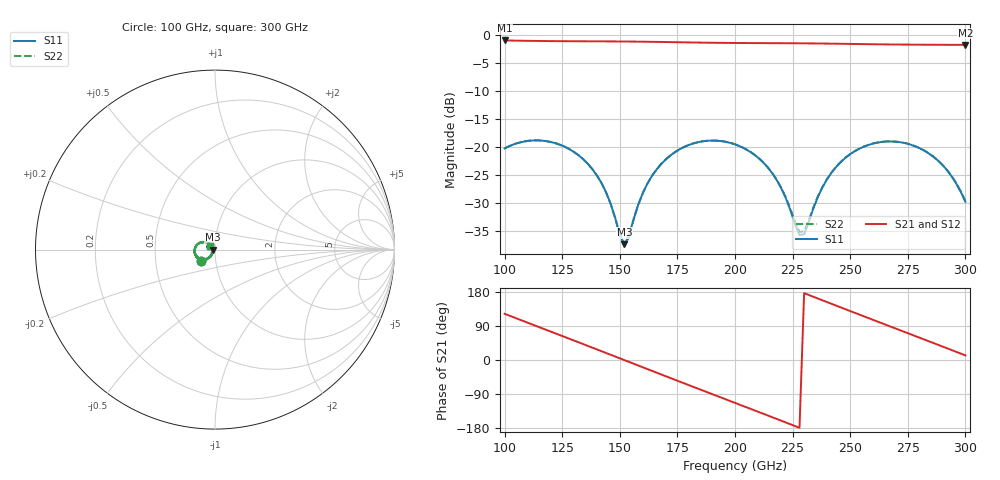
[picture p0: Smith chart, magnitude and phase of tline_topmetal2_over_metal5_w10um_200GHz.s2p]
#  GHZ S DB R 50
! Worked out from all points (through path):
!   101 points, 100 GHz to 300 GHz, reference 50 ohm
!   highest |S21| = -0.92 dB at 100 GHz (marker M1); lowest = -1.7 dB at 300 GHz (marker M2)
!   group delay of S21, straight-line fit = 6.53 ps
!   lowest |S11| = -37.4 dB at 152 GHz (marker M3), VSWR 1.03, Z = 48.7 - j0.119 ohm
!   |S11| at or under -10 dB: start of sweep to end of sweep
!   |S22| runs from -37.7 to -18.8 dB; largest |S21 - S12| = 1.5e-13
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100  -20.23 -141.4  -0.92 121.9  -0.92 121.9  -20.22 -140.8
116  -18.82 -176.0  -1.02 84.4  -1.02 84.4  -18.81 -175.5
124  -19.56 167.0  -1.05 65.7  -1.05 65.7  -19.55 167.5
134  -22.11 147.3  -1.07 42.2  -1.07 42.2  -22.10 147.6
144  -28.03 134.8  -1.09 18.6  -1.09 18.6  -28.05 134.8
152  -37.39 -174.8  -1.11 -0.3  -1.11 -0.3  -37.70 -174.3
160  -28.17 -121.5  -1.14 -19.3  -1.14 -19.3  -28.21 -120.1
168  -22.99 -130.2  -1.19 -38.2  -1.19 -38.2  -22.99 -129.0
184  -19.10 -161.1  -1.30 -75.8  -1.30 -75.8  -19.10 -160.0
200  -19.50 166.2  -1.37 -113.2  -1.37 -113.2  -19.48 167.4
216  -24.57 138.5  -1.41 -150.6  -1.41 -150.6  -24.52 140.3
222  -29.06 136.5  -1.42 -164.7  -1.42 -164.7  -28.92 138.8
228  -35.71 171.9  -1.43 -178.9  -1.43 -178.9  -35.15 173.5
230  -35.56 -160.0  -1.44 176.4  -1.44 176.4  -35.04 -160.5
234  -30.98 -130.8  -1.45 166.9  -1.45 166.9  -30.80 -131.8
240  -25.70 -127.6  -1.48 152.7  -1.48 152.7  -25.65 -127.8
248  -21.88 -138.5  -1.53 133.9  -1.53 133.9  -21.86 -138.2
258  -19.59 -157.0  -1.59 110.4  -1.59 110.4  -19.57 -156.4
268  -18.98 -176.6  -1.64 87.1  -1.64 87.1  -18.96 -175.8
286  -21.68 150.0  -1.69 45.1  -1.69 45.1  -21.65 151.2
294  -25.20 140.0  -1.70 26.3  -1.70 26.3  -25.14 141.6
300  -29.76 143.1  -1.71 12.2  -1.71 12.2  -29.61 145.2
